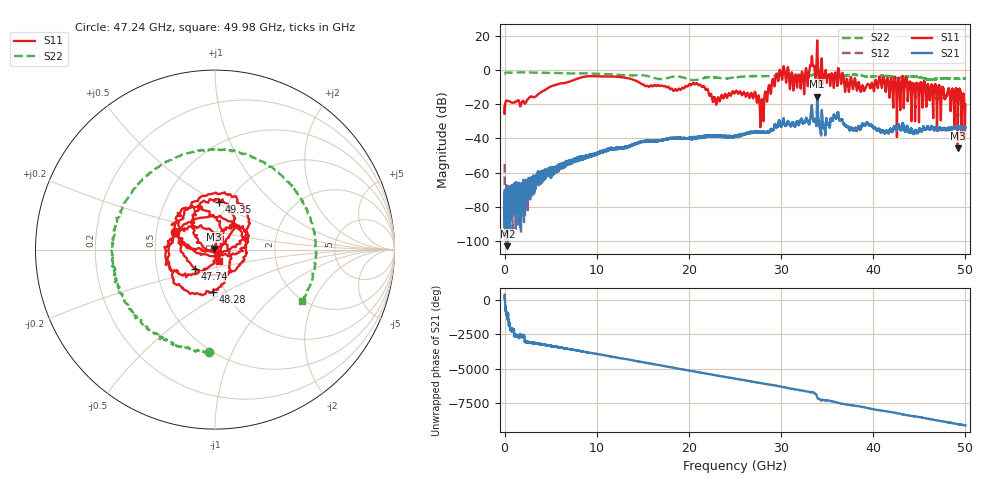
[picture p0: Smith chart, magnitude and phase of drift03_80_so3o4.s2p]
!Created with skrf (http://scikit-rf.org).
# Hz S RI R 50.0
!freq ReS11 ImS11 ReS21 ImS21 ReS12 ImS12 ReS22 ImS22
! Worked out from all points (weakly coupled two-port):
!   10001 points, 300 kHz to 50 GHz, reference 50 ohm
!   highest |S21| = -15.48 dB at 33.92 GHz (marker M1); lowest = -103.0 dB at 300.3 MHz (marker M2)
!   lowest |S11| = -45.9 dB at 49.18 GHz (marker M3), VSWR 1.01, Z = 49.6 + j0.282 ohm
!   |S11| at or under -10 dB: start of sweep to 4.849 GHz; 21.69 GHz to 28.62 GHz (6.932 GHz wide, 27.6 % of centre); 47.56 GHz to end of sweep (the widest 3 of 48)
!   |S22| runs from -5.9 to -1.3 dB; largest |S21 - S12| = 0.017
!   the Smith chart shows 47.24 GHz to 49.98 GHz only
!   S11 on the Smith chart (normalised r, x): 47.24 GHz: 0.63, +0.13; 47.74 GHz: 0.78, -0.17; 48.28 GHz: 0.87, -0.44; 49.35 GHz: 0.91, +0.52; 49.98 GHz: 1.04, -0.13
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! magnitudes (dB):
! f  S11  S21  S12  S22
! 300 kHz  -21.2  -70.9  -54.9  -2.0
! 300.3 MHz  -17.9  -103.0  -81.5  -1.4
! 8.335 GHz  -4.3  -51.7  -51.9  -1.9
! 16.67 GHz  -8.8  -41.2  -41.3  -5.1
! 21.01 GHz  -8.7  -38.9  -39.1  -5.5
! 22.81 GHz  -16.1  -38.7  -38.6  -4.2
! 25 GHz  -13.4  -38.7  -38.9  -4.3
! 27.02 GHz  -15.8  -36.5  -36.2  -3.5
! 27.92 GHz  -17.2  -36.5  -36.3  -3.5
! 29.69 GHz  -6.4  -31.8  -31.7  -3.1
! 32.32 GHz  -1.5  -30.4  -30.7  -3.3
! 33.34 GHz  8.2  -20.4  -20.7  -2.9
! 33.92 GHz  17.3  -15.5  -15.8  -2.5
! 38.82 GHz  -9.1  -31.3  -31.8  -3.3
! 41.67 GHz  -9.0  -36.8  -36.6  -3.7
! 47.24 GHz  -12.3  -33.8  -33.7  -4.9
! 47.74 GHz  -16.2  -34.6  -34.3  -4.8
! 48.28 GHz  -12.5  -35.0  -34.8  -4.9
! 49.18 GHz  -45.9  -34.0  -34.1  -5.1
! 49.35 GHz  -11.4  -33.9  -33.9  -5.1
! 49.98 GHz  -23.6  -34.0  -34.0  -5.0
! 50 GHz  -20.1  -33.6  -34.2  -5.0
